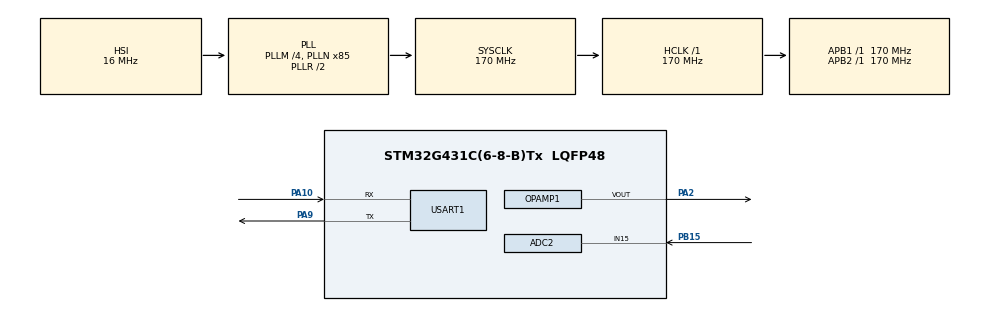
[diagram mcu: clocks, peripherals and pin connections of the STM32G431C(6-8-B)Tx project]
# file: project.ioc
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ADC2.Channel-0\#ChannelRegularConversion=ADC_CHANNEL_15
ADC2.DMAContinuousRequests=ENABLE
ADC2.ExternalTrigConv=ADC_EXTERNALTRIG_T7_TRGO
ADC2.NbrOfConversionFlag=1
ADC2.OffsetNumber-0\#ChannelRegularConversion=ADC_OFFSET_NONE
ADC2.Overrun=ADC_OVR_DATA_OVERWRITTEN
ADC2.Rank-0\#ChannelRegularConversion=1
ADC2.SamplingTime-0\#ChannelRegularConversion=ADC_SAMPLETIME_640CYCLES_5
DAC3.DAC_Trigger_OUT1-DAC_OUT1_Int=DAC_TRIGGER_T6_TRGO
Dma.ADC2.2.Direction=DMA_PERIPH_TO_MEMORY
Dma.ADC2.2.EventEnable=DISABLE
Dma.ADC2.2.Instance=DMA1_Channel4
Dma.ADC2.2.MemDataAlignment=DMA_MDATAALIGN_HALFWORD
Dma.ADC2.2.MemInc=DMA_MINC_ENABLE
Dma.ADC2.2.Mode=DMA_CIRCULAR
Dma.ADC2.2.PeriphDataAlignment=DMA_PDATAALIGN_HALFWORD
Dma.ADC2.2.PeriphInc=DMA_PINC_DISABLE
Dma.ADC2.2.Polarity=HAL_DMAMUX_REQ_GEN_RISING
Dma.ADC2.2.Priority=DMA_PRIORITY_LOW
Dma.ADC2.2.RequestNumber=1
Dma.ADC2.2.SignalID=NONE
Dma.ADC2.2.SyncEnable=DISABLE
Dma.ADC2.2.SyncPolarity=HAL_DMAMUX_SYNC_NO_EVENT
Dma.ADC2.2.SyncRequestNumber=1
Dma.ADC2.2.SyncSignalID=NONE
Dma.DAC3_CH1.3.Direction=DMA_MEMORY_TO_PERIPH
Dma.DAC3_CH1.3.EventEnable=DISABLE
Dma.DAC3_CH1.3.Instance=DMA1_Channel1
Dma.DAC3_CH1.3.MemDataAlignment=DMA_MDATAALIGN_WORD
Dma.DAC3_CH1.3.MemInc=DMA_MINC_ENABLE
Dma.DAC3_CH1.3.Mode=DMA_CIRCULAR
Dma.DAC3_CH1.3.PeriphDataAlignment=DMA_PDATAALIGN_WORD
Dma.DAC3_CH1.3.PeriphInc=DMA_PINC_DISABLE
Dma.DAC3_CH1.3.Polarity=HAL_DMAMUX_REQ_GEN_RISING
Dma.DAC3_CH1.3.Priority=DMA_PRIORITY_LOW
Dma.DAC3_CH1.3.RequestNumber=1
Dma.DAC3_CH1.3.SignalID=NONE
Dma.DAC3_CH1.3.SyncEnable=DISABLE
Dma.DAC3_CH1.3.SyncPolarity=HAL_DMAMUX_SYNC_NO_EVENT
Dma.DAC3_CH1.3.SyncRequestNumber=1
Dma.DAC3_CH1.3.SyncSignalID=NONE
Dma.Request0=USART1_RX
Dma.Request1=USART1_TX
Dma.Request2=ADC2
Dma.Request3=DAC3_CH1
Dma.USART1_RX.0.Direction=DMA_PERIPH_TO_MEMORY
Dma.USART1_RX.0.EventEnable=DISABLE
Dma.USART1_RX.0.Instance=DMA1_Channel2
Dma.USART1_RX.0.MemDataAlignment=DMA_MDATAALIGN_BYTE
Dma.USART1_RX.0.MemInc=DMA_MINC_ENABLE
Dma.USART1_RX.0.Mode=DMA_NORMAL
Dma.USART1_RX.0.PeriphDataAlignment=DMA_PDATAALIGN_BYTE
Dma.USART1_RX.0.PeriphInc=DMA_PINC_DISABLE
Dma.USART1_RX.0.Polarity=HAL_DMAMUX_REQ_GEN_RISING
Dma.USART1_RX.0.Priority=DMA_PRIORITY_LOW
Dma.USART1_RX.0.RequestNumber=1
Dma.USART1_RX.0.SignalID=NONE
Dma.USART1_RX.0.SyncEnable=DISABLE
Dma.USART1_RX.0.SyncPolarity=HAL_DMAMUX_SYNC_NO_EVENT
Dma.USART1_RX.0.SyncRequestNumber=1
Dma.USART1_RX.0.SyncSignalID=NONE
Dma.USART1_TX.1.Direction=DMA_MEMORY_TO_PERIPH
Dma.USART1_TX.1.EventEnable=DISABLE
Dma.USART1_TX.1.Instance=DMA1_Channel3
Dma.USART1_TX.1.MemDataAlignment=DMA_MDATAALIGN_BYTE
Dma.USART1_TX.1.MemInc=DMA_MINC_ENABLE
Dma.USART1_TX.1.Mode=DMA_NORMAL
Dma.USART1_TX.1.PeriphDataAlignment=DMA_PDATAALIGN_BYTE
Dma.USART1_TX.1.PeriphInc=DMA_PINC_DISABLE
Dma.USART1_TX.1.Polarity=HAL_DMAMUX_REQ_GEN_RISING
Dma.USART1_TX.1.Priority=DMA_PRIORITY_LOW
Dma.USART1_TX.1.RequestNumber=1
Dma.USART1_TX.1.SignalID=NONE
Dma.USART1_TX.1.SyncEnable=DISABLE
Dma.USART1_TX.1.SyncPolarity=HAL_DMAMUX_SYNC_NO_EVENT
Dma.USART1_TX.1.SyncRequestNumber=1
Dma.USART1_TX.1.SyncSignalID=NONE
Mcu.Family=STM32G4
Mcu.Name=STM32G431C(6-8-B)Tx
Mcu.Package=LQFP48
NVIC.DMA1_Channel1_IRQn=true\:0\:0\:false\:false\:true\:false\:true\:true
NVIC.DMA1_Channel2_IRQn=true\:0\:0\:false\:false\:true\:false\:true\:true
NVIC.DMA1_Channel3_IRQn=true\:0\:0\:false\:false\:true\:false\:true\:true
NVIC.DMA1_Channel4_IRQn=true\:0\:0\:false\:false\:true\:false\:true\:true
NVIC.PriorityGroup=NVIC_PRIORITYGROUP_4
NVIC.USART1_IRQn=true\:0\:0\:false\:false\:true\:false\:true\:true
OPAMP1.PowerMode=OPAMP_POWERMODE_HIGHSPEED
PA10.Mode=Asynchronous
PA10.Signal=USART1_RX
PA13.Mode=Serial_Wire
PA13.Signal=SYS_JTMS-SWDIO
PA14.Mode=Serial_Wire
PA14.Signal=SYS_JTCK-SWCLK
PA2.Mode=Follower-DAC_OUT2-INP
PA2.Signal=OPAMP1_VOUT
PA9.Mode=Asynchronous
PA9.Signal=USART1_TX
PB15.Mode=IN15-Single-Ended
PB15.Signal=ADC2_IN15
PF0-OSC_IN.Mode=HSE-External-Oscillator
PF0-OSC_IN.Signal=RCC_OSC_IN
PF1-OSC_OUT.Mode=HSE-External-Oscillator
PF1-OSC_OUT.Signal=RCC_OSC_OUT
ProjectManager.HeapSize=0x200
ProjectManager.StackSize=0x400
ProjectManager.TargetToolchain=CMake
RCC.ADC12Freq_Value=170000000
RCC.AHBFreq_Value=170000000
RCC.APB1Freq_Value=170000000
RCC.APB1TimFreq_Value=170000000
RCC.APB2Freq_Value=170000000
RCC.APB2TimFreq_Value=170000000
RCC.CortexFreq_Value=170000000
RCC.EXTERNAL_CLOCK_VALUE=12288000
RCC.HCLKFreq_Value=170000000
RCC.HSE_VALUE=8000000
RCC.HSI48_VALUE=48000000
RCC.HSI_VALUE=16000000
RCC.LSE_VALUE=32768
RCC.PLLM=RCC_PLLM_DIV4
RCC.PLLN=85
RCC.SYSCLKFreq_VALUE=170000000
RCC.SYSCLKSource=RCC_SYSCLKSOURCE_PLLCLK
RCC.USBFreq_Value=170000000
RCC.VCOOutputFreq_Value=340000000
TIM6.AutoReloadPreload=TIM_AUTORELOAD_PRELOAD_ENABLE
TIM6.PeriodNoDither=128
TIM6.Prescaler=127
TIM6.TIM_MasterOutputTrigger=TIM_TRGO_UPDATE
TIM7.AutoReloadPreload=TIM_AUTORELOAD_PRELOAD_ENABLE
TIM7.PeriodNoDither=8499
TIM7.Prescaler=0
TIM7.TIM_MasterOutputTrigger=TIM_TRGO_UPDATE
USART1.VirtualMode-Asynchronous=VM_ASYNC
VP_DAC3_VS_DACI1.Mode=DAC_OUT1_Int
VP_SYS_VS_DBSignals.Mode=DisableDeadBatterySignals
VP_TIM6_VS_ClockSourceINT.Mode=Enable_Timer
VP_TIM7_VS_ClockSourceINT.Mode=Enable_Timer
board=custom

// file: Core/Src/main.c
/* USER CODE BEGIN Header */
/**
  ******************************************************************************
  * @file           : main.c
  * @brief          : Main program body
  ******************************************************************************
  * @attention
  *
  * Copyright (c) 2026 STMicroelectronics.
  * All rights reserved.
  *
  * This software is licensed under terms that can be found in the LICENSE file
  * in the root directory of this software component.
  * If no LICENSE file comes with this software, it is provided AS-IS.
  *
  ******************************************************************************
  */
/* USER CODE END Header */
#include "main.h"
#include "adc.h"
#include "dac.h"
#include "dma.h"
#include "opamp.h"
#include "tim.h"
#include "usart.h"
#include "gpio.h"

/* USER CODE BEGIN Includes */
#include "signal.h"          /* DAC+TIM6+DMA  */
#include "uart_echo.h"       /* USART1 不定长收发（DMA + 空闲中断） */
#include "adc_vofa.h"        /* ADC2(500kSPS, TIM7触发) -> VOFA+ (JustFloat) */
#include "track.h"           /* ★ 频率跟踪：ADC 采对方的波 -> 测频 -> DAC 输出同频正弦 */
#include "debug_rtt.h"       /* SEGGER RTT 调试输出（走 SWD，不占 UART/引脚） */
/* USER CODE END Includes */

void SystemClock_Config(void);

int main(void)
{

  /* MCU Configuration--------------------------------------------------------*/

  /* Reset of all peripherals, Initializes the Flash interface and the Systick. */
  HAL_Init();

  /* Configure the system clock */
  SystemClock_Config();

  /* Initialize all configured peripherals */
  MX_GPIO_Init();
  MX_DMA_Init();
  MX_TIM6_Init();
  MX_USART1_UART_Init();
  MX_ADC2_Init();
  MX_TIM7_Init();
  MX_DAC3_Init();
  MX_OPAMP1_Init();
  /* USER CODE BEGIN 2 */
  /* RTT 调试通道：越早初始化越好，这样后面所有 printf 都能被 J-Link 抓走。
   * 不需要任何接线改动（走原有 SWD：PA13/PA14），也不占 USART。 */
  Debug_RTT_Init();
  Debug_RTT_Println("boot: RTT ready, init peripherals...");

  /* Start the sine output. 通路：DAC3 ─(片内)─> OPAMP1 跟随器 ─> PA2
   *
   * ★ 只有一件事必须自己做：CubeMX 只生成 MX_OPAMP1_Init()，**不会生成启动**。
   *   HAL_OPAMP_Init() 的源码注释写得很清楚：
   *       "(#) Enable the OPAMP using HAL_OPAMP_Start() function."
   *   Init 只把参数写进 OPAMP_CSR，运放本体还是关着的 → PA2 上什么都没有。
   *
   * ★ 顺序：HAL_OPAMP_Start() 必须在 Signal_Init() 之后 ——
   *   DAC3 要先跑起来，运放跟随的才不是 0V。
   *
   * 注：G4 的 OPAMP 没有独立时钟门控（CubeMX 里该 IP 是 ClockEnableMode="none"，
   *     芯片头文件里也没有 __HAL_RCC_OPAMP_CLK_ENABLE 这个宏），所以不需要开时钟。 */
  /* ★★ 跟频系统：输出频率由 Track_Poll() 根据"对方的波"实时决定 ★★
   *   所以这里**不能**再调 Signal_Sweep_Init() 的扫频 ——
   *   扫频和跟踪器会抢着调 Signal_SetFreq()，输出会变成一团乱跳。
   *   要扫频做失真度对比时，把下面 Signal_Init() 换回 Signal_Sweep_Init() 即可。 */
  Signal_Init();                /* 启动 DAC3，先给一个 1kHz 的默认输出 */
  HAL_OPAMP_Start(&hopamp1);    /* ★ 运放启动：必须晚于 DAC3 */

  Uart_Echo_Init();             /* 启动 USART1 不定长接收（DMA + 空闲中断） */
  Adc_Vofa_Init();              /* 启动 ADC2 采集(500kSPS) + DMA，发 VOFA+ */
  Track_Init();                 /* ★ 跟踪器：必须在 Adc_Vofa_Init() 之后（复用它的 adc_buf） */
  /* ★ 无穷发生版本：输出频率为输入 2 倍、相位从输入上升沿 0° 开始，
   *   与 x=sin(wt) 组成标准 2:1 李萨如无穷图形。 */
  Signal_SetPhaseDeg(0.0f);
  Debug_RTT_Println("boot: all modules started (infinity Lissajous mode)");

  /* ---- RTT 调试输出用法（不需要时可删）---------------------------------
   * printf 已被重定向到 RTT，J-Link RTT Viewer 里直接能看到：
   *     printf("angle=%d  id=%.3f  iq=%.3f\r\n", (int)angle, id, iq);
   *     Debug_RTT_Printf("freq=%.2f Hz\r\n", Signal_GetFreq());
   * 注意：别在 20kHz 中断里刷屏，缓冲满了会静默丢弃
   *       （可用 g_rtt_dropped 查看丢了多少）。
   * -------------------------------------------------------------------- */
  printf("RTT printf OK: %d %.3f\r\n", 42, 3.14159f);
  /* USER CODE END 2 */

  /* Infinite loop */
  while (1)
  {

    /* USER CODE BEGIN 3 */
    /* ★ 注意：这里**故意不调 Signal_Sweep_Step()** ★
     *   它的 s_last_tick 初值是 0，就算没调 Init，第一次进函数
     *   (HAL_GetTick() - 0) >= 1500 立刻成立 → 马上 Signal_SetFreq(500Hz)，
     *   然后每 1.5 秒换一档，把跟踪器的输出冲掉。
     *   所以跟频模式下必须整个摘掉它。
     *   要回去做扫频失真度对比：把 Signal_Init() 换成 Signal_Sweep_Init()、
     *   这里加回 Signal_Sweep_Step()、并把 Track_Poll() 注释掉。 */
    Uart_Echo_Poll();           /* 串口轮询：每 2ms 取走 DMA 收到的数据并回发 */
    Track_Poll();               /* ★ 跟频核心：测对方的频率 → 驱动 DAC 输出同频正弦 */
    Adc_Vofa_Poll();            /* ADC 轮询：取一整窗波形降采样后发到 VOFA+ 示波器 */

    /* ★ 这里**不要**再往 RTT 打周期性的文本日志 ★
     *   ADC_VOFA_LINK=1 时，VOFA+ 的 JustFloat 二进制流走的也是 RTT **通道 0**，
     *   插一行文本进去 = 往字节流里塞垃圾，VOFA+ 的帧解析会错位。
     *   跟频状态已经作为通道1/通道2 进了 VOFA+ 数据流，看波形图就够了；
     *   真要文本排查，用 J-Link 直接读 g_trk_* 这些全局变量。 */
    /* 串口收发由 DMA + 空闲中断在后台完成，主循环不用管 */
  }
  /* USER CODE END 3 */
}

void SystemClock_Config(void)
{
  RCC_OscInitTypeDef RCC_OscInitStruct = {0};
  RCC_ClkInitTypeDef RCC_ClkInitStruct = {0};

  /** Configure the main internal regulator output voltage
  */
  HAL_PWREx_ControlVoltageScaling(PWR_REGULATOR_VOLTAGE_SCALE1_BOOST);

  /** Initializes the RCC Oscillators according to the specified parameters
  * in the RCC_OscInitTypeDef structure.
  */
  RCC_OscInitStruct.OscillatorType = RCC_OSCILLATORTYPE_HSI;
  RCC_OscInitStruct.HSIState = RCC_HSI_ON;
  RCC_OscInitStruct.HSICalibrationValue = RCC_HSICALIBRATION_DEFAULT;
  RCC_OscInitStruct.PLL.PLLState = RCC_PLL_ON;
  RCC_OscInitStruct.PLL.PLLSource = RCC_PLLSOURCE_HSI;
  RCC_OscInitStruct.PLL.PLLM = RCC_PLLM_DIV4;
  RCC_OscInitStruct.PLL.PLLN = 85;
  RCC_OscInitStruct.PLL.PLLP = RCC_PLLP_DIV2;
  RCC_OscInitStruct.PLL.PLLQ = RCC_PLLQ_DIV2;
  RCC_OscInitStruct.PLL.PLLR = RCC_PLLR_DIV2;
  if (HAL_RCC_OscConfig(&RCC_OscInitStruct) != HAL_OK)
  {
    Error_Handler();
  }

  /** Initializes the CPU, AHB and APB buses clocks
  */
  RCC_ClkInitStruct.ClockType = RCC_CLOCKTYPE_HCLK|RCC_CLOCKTYPE_SYSCLK
                              |RCC_CLOCKTYPE_PCLK1|RCC_CLOCKTYPE_PCLK2;
  RCC_ClkInitStruct.SYSCLKSource = RCC_SYSCLKSOURCE_PLLCLK;
  RCC_ClkInitStruct.AHBCLKDivider = RCC_SYSCLK_DIV1;
  RCC_ClkInitStruct.APB1CLKDivider = RCC_HCLK_DIV1;
  RCC_ClkInitStruct.APB2CLKDivider = RCC_HCLK_DIV1;

  if (HAL_RCC_ClockConfig(&RCC_ClkInitStruct, FLASH_LATENCY_4) != HAL_OK)
  {
    Error_Handler();
  }
}

void Error_Handler(void)
{
  __disable_irq();
  while (1)
  {
  }
}
